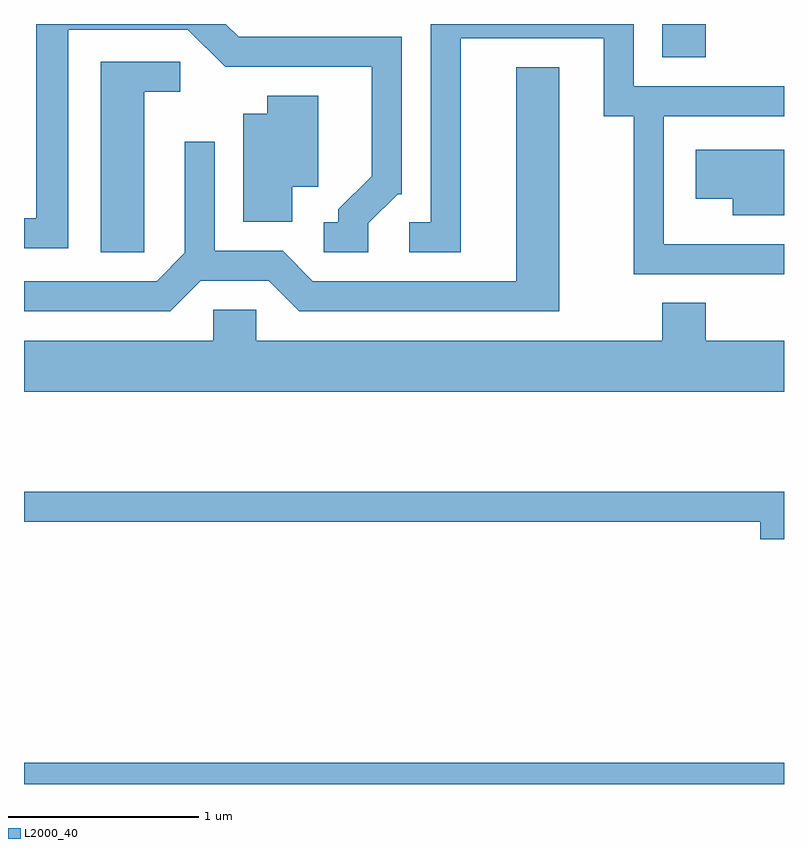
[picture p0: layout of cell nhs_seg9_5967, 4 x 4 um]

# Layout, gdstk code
import gdstk
lib = gdstk.Library(unit=1e-6, precision=1e-09)
def R(c, l, rs):  # rectangles x0, y0, x1, y1
    for r in rs: c.add(gdstk.rectangle(r[:2], r[2:], *l))
def P(c, l, *ps):  # polygons
    for p in ps: c.add(gdstk.Polygon(p, *l))
L2000_40 = (2000, 40)

nhs_seg9_5967 = lib.new_cell('nhs_seg9_5967')
R(nhs_seg9_5967, L2000_40, [(361.611,1976.432,365.611,1976.544), (364.971,1980.256,365.199,1980.432)])
P(nhs_seg9_5967, L2000_40, [(365.611,1979.274),(364.979,1979.274),(364.979,1979.946),(365.611,1979.946),(365.611,1980.104),(364.819,1980.104),(364.819,1980.432),(363.751,1980.432),(363.751,1979.389),(363.638,1979.389),(363.638,1979.231),(363.909,1979.231),(363.909,1980.356),(364.661,1980.356),(364.661,1979.946),(364.821,1979.946),(364.821,1979.116),(365.611,1979.116)],
  [(363.424,1979.384),(363.577,1979.536),(363.599,1979.536),(363.599,1980.364),(362.742,1980.364),(362.674,1980.432),(361.676,1980.432),(361.676,1979.409),(361.611,1979.409),(361.611,1979.251),(361.844,1979.251),(361.844,1980.401),(362.474,1980.401),(362.669,1980.206),(363.441,1980.206),(363.441,1979.632),(363.266,1979.457),(363.266,1979.389),(363.188,1979.389),(363.188,1979.231),(363.424,1979.231)],
  [(362.244,1980.076),(362.433,1980.076),(362.433,1980.234),(362.016,1980.234),(362.016,1979.231),(362.244,1979.231)],
  [(362.542,1979.081),(362.899,1979.081),(363.059,1978.921),(364.429,1978.921),(364.429,1980.204),(364.201,1980.204),(364.201,1979.079),(363.132,1979.079),(362.972,1979.239),(362.614,1979.239),(362.614,1979.813),(362.456,1979.813),(362.456,1979.227),(362.309,1979.079),(361.611,1979.079),(361.611,1978.921),(362.382,1978.921)],
  [(363.024,1979.576),(363.159,1979.576),(363.159,1980.054),(362.891,1980.054),(362.891,1979.959),(362.766,1979.959),(362.766,1979.391),(363.024,1979.391)],
  [(365.611,1979.769),(365.146,1979.769),(365.146,1979.511),(365.341,1979.511),(365.341,1979.426),(365.611,1979.426)],
  [(365.611,1978.764),(365.199,1978.764),(365.199,1978.964),(364.971,1978.964),(364.971,1978.764),(362.834,1978.764),(362.834,1978.929),(362.606,1978.929),(362.606,1978.764),(361.611,1978.764),(361.611,1978.496),(365.611,1978.496)],
  [(365.611,1977.969),(361.611,1977.969),(361.611,1977.811),(365.486,1977.811),(365.486,1977.721),(365.611,1977.721)])

lib.write_gds('nhs_seg9_5967.gds')
